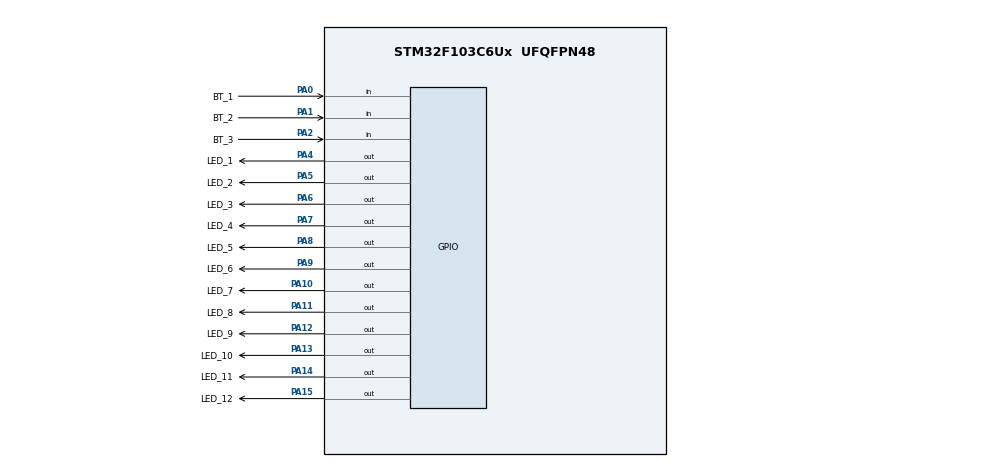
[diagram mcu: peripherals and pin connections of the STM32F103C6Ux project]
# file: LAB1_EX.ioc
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Mcu.Family=STM32F1
Mcu.Name=STM32F103C6Ux
Mcu.Package=UFQFPN48
NVIC.PriorityGroup=NVIC_PRIORITYGROUP_4
PA0-WKUP.GPIO_Label=BT_1
PA0-WKUP.GPIO_PuPd=GPIO_PULLUP
PA0-WKUP.Signal=GPIO_Input
PA1.GPIO_Label=BT_2
PA1.GPIO_PuPd=GPIO_PULLUP
PA1.Signal=GPIO_Input
PA10.GPIO_Label=LED_7
PA10.Signal=GPIO_Output
PA11.GPIO_Label=LED_8
PA11.Signal=GPIO_Output
PA12.GPIO_Label=LED_9
PA12.Signal=GPIO_Output
PA13.GPIO_Label=LED_10
PA13.Signal=GPIO_Output
PA14.GPIO_Label=LED_11
PA14.Signal=GPIO_Output
PA15.GPIO_Label=LED_12
PA15.PinState=GPIO_PIN_SET
PA15.Signal=GPIO_Output
PA2.GPIO_Label=BT_3
PA2.GPIO_PuPd=GPIO_PULLUP
PA2.Signal=GPIO_Input
PA4.GPIO_Label=LED_1
PA4.Signal=GPIO_Output
PA5.GPIO_Label=LED_2
PA5.Signal=GPIO_Output
PA6.GPIO_Label=LED_3
PA6.Signal=GPIO_Output
PA7.GPIO_Label=LED_4
PA7.Signal=GPIO_Output
PA8.GPIO_Label=LED_5
PA8.Signal=GPIO_Output
PA9.GPIO_Label=LED_6
PA9.Signal=GPIO_Output
ProjectManager.HeapSize=0x200
ProjectManager.StackSize=0x400
ProjectManager.TargetToolchain=STM32CubeIDE
RCC.APB1Freq_Value=8000000
RCC.APB2Freq_Value=8000000
board=custom

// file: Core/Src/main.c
/* USER CODE BEGIN Header */
/**
  ******************************************************************************
  * @file           : main.c
  * @brief          : Main program body
  ******************************************************************************
  * @attention
  *
  * Copyright (c) 2023 STMicroelectronics.
  * All rights reserved.
  *
  * This software is licensed under terms that can be found in the LICENSE file
  * in the root directory of this software component.
  * If no LICENSE file comes with this software, it is provided AS-IS.
  *
  ******************************************************************************
  */
/* USER CODE END Header */
#include "main.h"

void SystemClock_Config(void);
static void MX_GPIO_Init(void);

/* USER CODE BEGIN 0 */
void setNumberOnClock(int num){
	switch(num){
	case 1:
		HAL_GPIO_WritePin(LED_1_GPIO_Port, LED_1_Pin, 1);
		break;
	case 2:
		HAL_GPIO_WritePin(LED_2_GPIO_Port, LED_2_Pin, 1);
		break;
	case 3:
		HAL_GPIO_WritePin(LED_3_GPIO_Port, LED_3_Pin, 1);
		break;
	case 4:
		HAL_GPIO_WritePin(LED_4_GPIO_Port, LED_4_Pin, 1);
		break;
	case 5:
		HAL_GPIO_WritePin(LED_5_GPIO_Port, LED_5_Pin, 1);
		break;
	case 6:
		HAL_GPIO_WritePin(LED_6_GPIO_Port, LED_6_Pin, 1);
		break;
	case 7:
		HAL_GPIO_WritePin(LED_7_GPIO_Port, LED_7_Pin, 1);
		break;
	case 8:
		HAL_GPIO_WritePin(LED_8_GPIO_Port, LED_8_Pin, 1);
		break;
	case 9:
		HAL_GPIO_WritePin(LED_9_GPIO_Port, LED_9_Pin, 1);
		break;
	case 10:
		HAL_GPIO_WritePin(LED_10_GPIO_Port, LED_10_Pin, 1);
		break;
	case 11:
		HAL_GPIO_WritePin(LED_11_GPIO_Port, LED_11_Pin, 1);
		break;
	case 0:
		HAL_GPIO_WritePin(LED_12_GPIO_Port, LED_12_Pin, 1);
		break;
	default:
	}
}

void clearAllClock() {
	HAL_GPIO_WritePin(LED_1_GPIO_Port, LED_1_Pin, 0);
	HAL_GPIO_WritePin(LED_2_GPIO_Port, LED_2_Pin, 0);
	HAL_GPIO_WritePin(LED_3_GPIO_Port, LED_3_Pin, 0);
	HAL_GPIO_WritePin(LED_4_GPIO_Port, LED_4_Pin, 0);
	HAL_GPIO_WritePin(LED_5_GPIO_Port, LED_5_Pin, 0);
	HAL_GPIO_WritePin(LED_6_GPIO_Port, LED_6_Pin, 0);
	HAL_GPIO_WritePin(LED_7_GPIO_Port, LED_7_Pin, 0);
	HAL_GPIO_WritePin(LED_8_GPIO_Port, LED_8_Pin, 0);
	HAL_GPIO_WritePin(LED_9_GPIO_Port, LED_9_Pin, 0);
	HAL_GPIO_WritePin(LED_10_GPIO_Port, LED_10_Pin, 0);
	HAL_GPIO_WritePin(LED_11_GPIO_Port, LED_11_Pin, 0);
	HAL_GPIO_WritePin(LED_12_GPIO_Port, LED_12_Pin, 0);
}
void onAllClock(){
	HAL_GPIO_WritePin(LED_1_GPIO_Port, LED_1_Pin, 1);
	HAL_GPIO_WritePin(LED_2_GPIO_Port, LED_2_Pin, 1);
	HAL_GPIO_WritePin(LED_3_GPIO_Port, LED_3_Pin, 1);
	HAL_GPIO_WritePin(LED_4_GPIO_Port, LED_4_Pin, 1);
	HAL_GPIO_WritePin(LED_5_GPIO_Port, LED_5_Pin, 1);
	HAL_GPIO_WritePin(LED_6_GPIO_Port, LED_6_Pin, 1);
	HAL_GPIO_WritePin(LED_7_GPIO_Port, LED_7_Pin, 1);
	HAL_GPIO_WritePin(LED_8_GPIO_Port, LED_8_Pin, 1);
	HAL_GPIO_WritePin(LED_9_GPIO_Port, LED_9_Pin, 1);
	HAL_GPIO_WritePin(LED_10_GPIO_Port, LED_10_Pin, 1);
	HAL_GPIO_WritePin(LED_11_GPIO_Port, LED_11_Pin, 1);
	HAL_GPIO_WritePin(LED_12_GPIO_Port, LED_12_Pin, 1);
}
/* USER CODE END 0 */

int main(void)
{

  /* MCU Configuration--------------------------------------------------------*/

  /* Reset of all peripherals, Initializes the Flash interface and the Systick. */
  HAL_Init();

  /* Configure the system clock */
  SystemClock_Config();

  /* Initialize all configured peripherals */
  MX_GPIO_Init();

  /* Infinite loop */
  /* USER CODE BEGIN WHILE */
  int hour = 0;
  int min = 0;
  int min_on_clock = 0;
  int sec = 0;
  int sec_on_clock = 0;
  while (1)
  {
	  // -------------------------------------------Compute Hour, Minute --------------------------------
	  if (sec >= 43200) sec = 0;
	  else{
		  sec++;
		  if (sec > 0 && sec % 60 == 0){
			  min++;
			  if (min % 5 == 0) min_on_clock++;
					  if (min_on_clock >= 12) min_on_clock =0;
		  }
		  if (sec > 0 && sec % 3600 == 0){
			  hour++;
		  }
		  if (sec > 0 && sec % 5 == 0){
			  sec_on_clock++;
			  if (sec_on_clock >= 12)
			  sec_on_clock = 0;
		  }
	  }
	  //-------------------------------------------Show on Analog Clock ----------------------------------
	  if (hour == min_on_clock && hour == sec_on_clock){
		  clearAllClock();
		  setNumberOnClock(hour);
	  }
	  else if (min_on_clock == sec_on_clock){
		  clearAllClock();
		  setNumberOnClock(hour);
	  }
	  else if (hour == min_on_clock){
		  clearAllClock();
		  setNumberOnClock(hour);
		  setNumberOnClock(sec_on_clock);
	  }
	  else {
		  clearAllClock();
		  setNumberOnClock(hour);
		  setNumberOnClock(min_on_clock);
		  setNumberOnClock(sec_on_clock);
	  }

	  HAL_Delay(1000);
    /* USER CODE END WHILE */

  }
}

void SystemClock_Config(void)
{
  RCC_OscInitTypeDef RCC_OscInitStruct = {0};
  RCC_ClkInitTypeDef RCC_ClkInitStruct = {0};

  /** Initializes the RCC Oscillators according to the specified parameters
  * in the RCC_OscInitTypeDef structure.
  */
  RCC_OscInitStruct.OscillatorType = RCC_OSCILLATORTYPE_HSI;
  RCC_OscInitStruct.HSIState = RCC_HSI_ON;
  RCC_OscInitStruct.HSICalibrationValue = RCC_HSICALIBRATION_DEFAULT;
  RCC_OscInitStruct.PLL.PLLState = RCC_PLL_NONE;
  if (HAL_RCC_OscConfig(&RCC_OscInitStruct) != HAL_OK)
  {
    Error_Handler();
  }

  /** Initializes the CPU, AHB and APB buses clocks
  */
  RCC_ClkInitStruct.ClockType = RCC_CLOCKTYPE_HCLK|RCC_CLOCKTYPE_SYSCLK
                              |RCC_CLOCKTYPE_PCLK1|RCC_CLOCKTYPE_PCLK2;
  RCC_ClkInitStruct.SYSCLKSource = RCC_SYSCLKSOURCE_HSI;
  RCC_ClkInitStruct.AHBCLKDivider = RCC_SYSCLK_DIV1;
  RCC_ClkInitStruct.APB1CLKDivider = RCC_HCLK_DIV1;
  RCC_ClkInitStruct.APB2CLKDivider = RCC_HCLK_DIV1;

  if (HAL_RCC_ClockConfig(&RCC_ClkInitStruct, FLASH_LATENCY_0) != HAL_OK)
  {
    Error_Handler();
  }
}

static void MX_GPIO_Init(void)
{
  GPIO_InitTypeDef GPIO_InitStruct = {0};

  /* GPIO Ports Clock Enable */
  __HAL_RCC_GPIOA_CLK_ENABLE();

  /*Configure GPIO pin Output Level */
  HAL_GPIO_WritePin(GPIOA, LED_1_Pin|LED_2_Pin|LED_3_Pin|LED_4_Pin
                          |LED_5_Pin|LED_6_Pin|LED_7_Pin|LED_8_Pin
                          |LED_9_Pin|LED_10_Pin|LED_11_Pin, GPIO_PIN_RESET);

  /*Configure GPIO pin Output Level */
  HAL_GPIO_WritePin(LED_12_GPIO_Port, LED_12_Pin, GPIO_PIN_SET);

  /*Configure GPIO pins : BT_1_Pin BT_2_Pin BT_3_Pin */
  GPIO_InitStruct.Pin = BT_1_Pin|BT_2_Pin|BT_3_Pin;
  GPIO_InitStruct.Mode = GPIO_MODE_INPUT;
  GPIO_InitStruct.Pull = GPIO_PULLUP;
  HAL_GPIO_Init(GPIOA, &GPIO_InitStruct);

  /*Configure GPIO pins : LED_1_Pin LED_2_Pin LED_3_Pin LED_4_Pin
                           LED_5_Pin LED_6_Pin LED_7_Pin LED_8_Pin
                           LED_9_Pin LED_10_Pin LED_11_Pin LED_12_Pin */
  GPIO_InitStruct.Pin = LED_1_Pin|LED_2_Pin|LED_3_Pin|LED_4_Pin
                          |LED_5_Pin|LED_6_Pin|LED_7_Pin|LED_8_Pin
                          |LED_9_Pin|LED_10_Pin|LED_11_Pin|LED_12_Pin;
  GPIO_InitStruct.Mode = GPIO_MODE_OUTPUT_PP;
  GPIO_InitStruct.Pull = GPIO_NOPULL;
  GPIO_InitStruct.Speed = GPIO_SPEED_FREQ_LOW;
  HAL_GPIO_Init(GPIOA, &GPIO_InitStruct);

}

void Error_Handler(void)
{
  __disable_irq();
  while (1)
  {
  }
}
